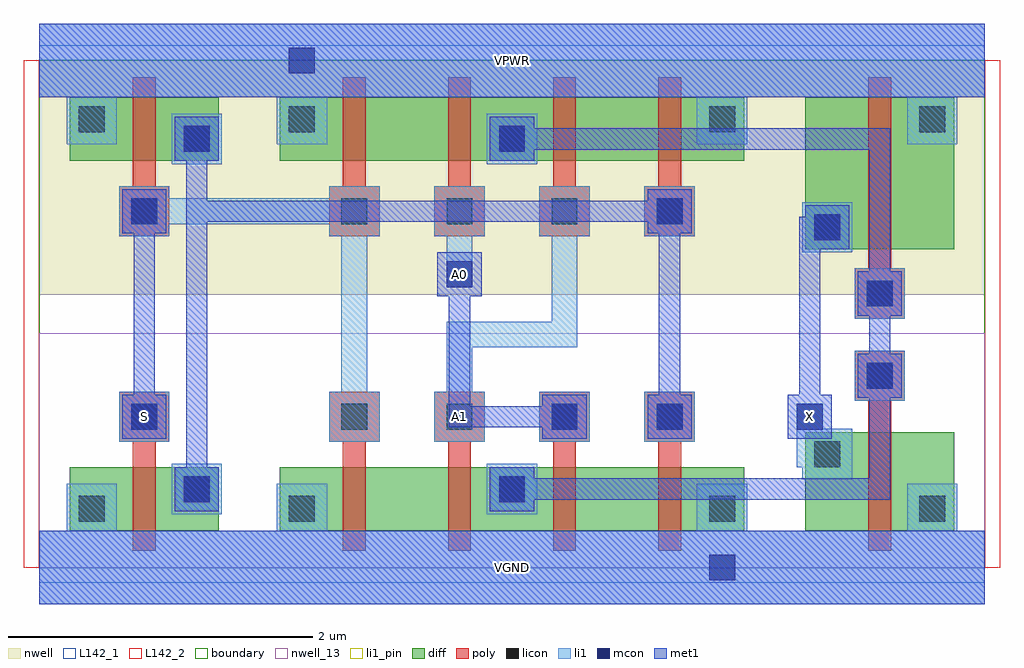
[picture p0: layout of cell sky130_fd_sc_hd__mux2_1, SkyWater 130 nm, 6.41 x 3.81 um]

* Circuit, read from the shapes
.subckt sky130_fd_sc_hd__mux2_1 A0 A1 S VGND VPWR X
XM1 n1 S VGND VSUBS sky130_fd_pr__nfet_01v8 w=0.42 l=0.15
XM2 n2 S VGND VSUBS sky130_fd_pr__nfet_01v8 w=0.42 l=0.15
XM3 n3 A1 n2 VSUBS sky130_fd_pr__nfet_01v8 w=0.42 l=0.15
XM4 n4 A0 n3 VSUBS sky130_fd_pr__nfet_01v8 w=0.42 l=0.15
XM5 VGND n1 n4 VSUBS sky130_fd_pr__nfet_01v8 w=0.42 l=0.15
XM6 VGND n3 X VSUBS sky130_fd_pr__nfet_01v8 w=0.65 l=0.15
XM7 n1 S VPWR n5 sky130_fd_pr__pfet_01v8 w=0.42 l=0.15
XM8 n6 S VPWR n5 sky130_fd_pr__pfet_01v8 w=0.42 l=0.15
XM9 n3 A0 n6 n5 sky130_fd_pr__pfet_01v8 w=0.42 l=0.15
XM10 n7 A1 n3 n5 sky130_fd_pr__pfet_01v8 w=0.42 l=0.15
XM11 VPWR n1 n7 n5 sky130_fd_pr__pfet_01v8 w=0.42 l=0.15
XM12 VPWR n3 X n5 sky130_fd_pr__pfet_01v8 w=1 l=0.15
.ends

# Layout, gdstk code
import gdstk
lib = gdstk.Library(unit=1e-6, precision=1e-09)
def R(c, l, rs):  # rectangles x0, y0, x1, y1
    for r in rs: c.add(gdstk.rectangle(r[:2], r[2:], *l))
def A(c, l, x, y, w, h, nx, ny, dx, dy):  # array of equal rectangles
    R(c, l, [(x+i*dx, y+j*dy, x+i*dx+w, y+j*dy+h) for i in range(nx) for j in range(ny)])
def P(c, l, *ps):  # polygons
    for p in ps: c.add(gdstk.Polygon(p, *l))
nwell_13 = (64, 13)
nwell = (64, 20)
diff = (65, 20)
poly = (66, 20)
licon = (66, 44)
li1_pin = (67, 16)
li1 = (67, 20)
mcon = (67, 44)
met1 = (68, 20)
L142_1 = (142, 1)
L142_2 = (142, 2)
boundary = (235, 4)

sky130_fd_sc_hd__mux2_1 = lib.new_cell('sky130_fd_sc_hd__mux2_1')
R(sky130_fd_sc_hd__mux2_1, nwell_13, [(0,0,6.21,1.54)])
R(sky130_fd_sc_hd__mux2_1, nwell, [(0,1.79,6.21,3.33)])
A(sky130_fd_sc_hd__mux2_1, diff, 1.995, 0.24, 0.69, 0.42, 3, 2, 0.69, 2.43)
R(sky130_fd_sc_hd__mux2_1, diff, [(0.2,0.24,1.18,0.66), (0.2,0.24,0.615,0.66), (0.615,0.24,1.18,0.66), (1.58,0.24,4.63,0.66), (1.58,0.24,1.995,0.66), (4.065,0.24,4.63,0.66), (5.03,0.24,6.01,0.89), (5.03,0.24,5.445,0.89), (5.445,0.24,6.01,0.89), (5.03,2.09,6.01,3.09), (5.03,2.09,5.445,3.09), (5.445,2.09,6.01,3.09), (0.2,2.67,1.18,3.09), (0.2,2.67,0.615,3.09), (0.615,2.67,1.18,3.09), (1.58,2.67,4.63,3.09), (1.58,2.67,1.995,3.09), (4.065,2.67,4.63,3.09)])
P(sky130_fd_sc_hd__mux2_1, poly, [(0.615,0.11),(0.615,0.825),(0.525,0.825),(0.525,1.155),(0.855,1.155),(0.855,0.825),(0.765,0.825),(0.765,0.11)],
  [(1.995,0.11),(1.995,0.825),(1.905,0.825),(1.905,1.155),(2.235,1.155),(2.235,0.825),(2.145,0.825),(2.145,0.11)],
  [(0.525,2.175),(0.525,2.505),(0.615,2.505),(0.615,3.22),(0.765,3.22),(0.765,2.505),(0.855,2.505),(0.855,2.175)],
  [(1.905,2.175),(1.905,2.505),(1.995,2.505),(1.995,3.22),(2.145,3.22),(2.145,2.505),(2.235,2.505),(2.235,2.175)],
  [(5.445,0.11),(5.445,1.095),(5.355,1.095),(5.355,1.425),(5.685,1.425),(5.685,1.095),(5.595,1.095),(5.595,0.11)],
  [(5.355,1.635),(5.355,1.965),(5.445,1.965),(5.445,3.22),(5.595,3.22),(5.595,1.965),(5.685,1.965),(5.685,1.635)],
  [(2.685,0.11),(2.685,0.825),(2.595,0.825),(2.595,1.155),(2.925,1.155),(2.925,0.825),(2.835,0.825),(2.835,0.11)],
  [(3.285,2.175),(3.285,2.505),(3.375,2.505),(3.375,3.22),(3.525,3.22),(3.525,2.505),(3.615,2.505),(3.615,2.175)],
  [(3.375,0.11),(3.375,0.825),(3.285,0.825),(3.285,1.155),(3.615,1.155),(3.615,0.825),(3.525,0.825),(3.525,0.11)],
  [(2.595,2.175),(2.595,2.505),(2.685,2.505),(2.685,3.22),(2.835,3.22),(2.835,2.505),(2.925,2.505),(2.925,2.175)],
  [(4.065,0.11),(4.065,0.825),(3.975,0.825),(3.975,1.155),(4.305,1.155),(4.305,0.825),(4.215,0.825),(4.215,0.11)],
  [(3.975,2.175),(3.975,2.505),(4.065,2.505),(4.065,3.22),(4.215,3.22),(4.215,2.505),(4.305,2.505),(4.305,2.175)])
A(sky130_fd_sc_hd__mux2_1, licon, 1.985, 0.905, 0.17, 0.17, 4, 2, 0.69, 1.35)
R(sky130_fd_sc_hd__mux2_1, licon, [(0.26,0.3,0.43,0.47), (1.64,0.3,1.81,0.47), (4.4,0.3,4.57,0.47), (5.78,0.3,5.95,0.47), (0.95,0.43,1.12,0.6), (3.02,0.43,3.19,0.6), (5.09,0.66,5.26,0.83), (0.605,0.905,0.775,1.075), (5.435,1.175,5.605,1.345), (5.435,1.715,5.605,1.885), (5.09,2.15,5.26,2.32), (0.605,2.255,0.775,2.425), (0.95,2.73,1.12,2.9), (3.02,2.73,3.19,2.9), (0.26,2.86,0.43,3.03), (1.64,2.86,1.81,3.03), (4.4,2.86,4.57,3.03), (5.78,2.86,5.95,3.03)])
R(sky130_fd_sc_hd__mux2_1, li1_pin, [(0,-0.24,6.21,0.24), (0.525,0.825,0.855,1.155), (0,3.09,6.21,3.57)])
P(sky130_fd_sc_hd__mux2_1, li1_pin, [(5.01,0.58),(5.01,0.66),(4.975,0.66),(4.975,1.075),(5.145,1.075),(5.145,0.91),(5.34,0.91),(5.34,0.58)],
  [(2.595,0.825),(2.595,1.155),(2.675,1.155),(2.675,1.615),(3.365,1.615),(3.365,2.175),(3.285,2.175),(3.285,2.505),(3.615,2.505),(3.615,2.175),(3.535,2.175),(3.535,1.445),(2.845,1.445),(2.845,1.155),(2.925,1.155),(2.925,0.825)],
  [(2.675,1.84),(2.675,2.175),(2.595,2.175),(2.595,2.505),(2.925,2.505),(2.925,2.175),(2.845,2.175),(2.845,1.84)])
R(sky130_fd_sc_hd__mux2_1, li1, [(0.87,0.35,1.2,0.68), (2.94,0.35,3.27,0.68), (0.525,0.825,0.855,1.155), (3.285,0.825,3.615,1.155), (3.975,0.825,4.305,1.155), (5.355,1.095,5.685,1.425), (5.355,1.635,5.685,1.965), (5.01,2.07,5.34,2.4), (3.975,2.175,4.305,2.505), (0.87,2.65,1.2,2.98), (2.94,2.65,3.27,2.98)])
P(sky130_fd_sc_hd__mux2_1, li1, [(1.905,0.825),(1.905,1.155),(1.985,1.155),(1.985,2.175),(1.905,2.175),(1.905,2.255),(0.855,2.255),(0.855,2.175),(0.525,2.175),(0.525,2.505),(0.855,2.505),(0.855,2.425),(1.905,2.425),(1.905,2.505),(2.235,2.505),(2.235,2.175),(2.155,2.175),(2.155,1.155),(2.235,1.155),(2.235,0.825)],
  [(0.18,2.78),(0.18,3.09),(0,3.09),(0,3.57),(6.21,3.57),(6.21,3.09),(6.03,3.09),(6.03,2.78),(5.7,2.78),(5.7,3.09),(4.65,3.09),(4.65,2.78),(4.32,2.78),(4.32,3.09),(1.89,3.09),(1.89,2.78),(1.56,2.78),(1.56,3.09),(0.51,3.09),(0.51,2.78)],
  [(2.595,0.825),(2.595,1.155),(2.675,1.155),(2.675,1.615),(3.365,1.615),(3.365,2.175),(3.285,2.175),(3.285,2.505),(3.615,2.505),(3.615,2.175),(3.535,2.175),(3.535,1.445),(2.845,1.445),(2.845,1.155),(2.925,1.155),(2.925,0.825)],
  [(0,-0.24),(0,0.24),(0.18,0.24),(0.18,0.55),(0.51,0.55),(0.51,0.24),(1.56,0.24),(1.56,0.55),(1.89,0.55),(1.89,0.24),(4.32,0.24),(4.32,0.55),(4.65,0.55),(4.65,0.24),(5.7,0.24),(5.7,0.55),(6.03,0.55),(6.03,0.24),(6.21,0.24),(6.21,-0.24)],
  [(5.01,0.58),(5.01,0.66),(4.975,0.66),(4.975,1.075),(5.145,1.075),(5.145,0.91),(5.34,0.91),(5.34,0.58)],
  [(2.675,1.84),(2.675,2.175),(2.595,2.175),(2.595,2.505),(2.925,2.505),(2.925,2.175),(2.845,2.175),(2.845,1.84)])
R(sky130_fd_sc_hd__mux2_1, mcon, [(4.4,-0.085,4.57,0.085), (0.95,0.43,1.12,0.6), (3.02,0.43,3.19,0.6), (0.605,0.905,0.775,1.075), (3.365,0.905,3.535,1.075), (4.055,0.905,4.225,1.075), (4.975,0.905,5.145,1.075), (5.435,1.175,5.605,1.345), (5.435,1.715,5.605,1.885), (2.675,1.84,2.845,2.01), (5.09,2.15,5.26,2.32), (0.605,2.255,0.775,2.425), (4.055,2.255,4.225,2.425), (0.95,2.73,1.12,2.9), (3.02,2.73,3.19,2.9), (1.64,3.245,1.81,3.415)])
R(sky130_fd_sc_hd__mux2_1, met1, [(0,-0.24,6.21,0.24), (0,3.09,6.21,3.57)])
P(sky130_fd_sc_hd__mux2_1, met1, [(0.545,0.845),(0.545,1.135),(0.62,1.135),(0.62,2.195),(0.545,2.195),(0.545,2.485),(0.835,2.485),(0.835,2.195),(0.76,2.195),(0.76,1.135),(0.835,1.135),(0.835,0.845)],
  [(2.96,0.37),(2.96,0.66),(3.25,0.66),(3.25,0.585),(5.45,0.585),(5.45,1.115),(5.375,1.115),(5.375,1.405),(5.45,1.405),(5.45,1.655),(5.375,1.655),(5.375,1.945),(5.45,1.945),(5.45,2.745),(3.25,2.745),(3.25,2.67),(2.96,2.67),(2.96,2.96),(3.25,2.96),(3.25,2.885),(5.59,2.885),(5.59,1.945),(5.665,1.945),(5.665,1.655),(5.59,1.655),(5.59,1.405),(5.665,1.405),(5.665,1.115),(5.59,1.115),(5.59,0.445),(3.25,0.445),(3.25,0.37)],
  [(4.915,0.845),(4.915,1.135),(4.99,1.135),(4.99,2.305),(5.03,2.305),(5.03,2.38),(5.32,2.38),(5.32,2.09),(5.13,2.09),(5.13,1.135),(5.205,1.135),(5.205,0.845)],
  [(3.305,0.845),(3.305,0.92),(2.69,0.92),(2.69,1.78),(2.615,1.78),(2.615,2.07),(2.905,2.07),(2.905,1.78),(2.83,1.78),(2.83,1.06),(3.305,1.06),(3.305,1.135),(3.595,1.135),(3.595,0.845)],
  [(0.89,0.37),(0.89,0.66),(0.965,0.66),(0.965,2.67),(0.89,2.67),(0.89,2.96),(1.18,2.96),(1.18,2.67),(1.105,2.67),(1.105,2.41),(3.995,2.41),(3.995,2.485),(4.285,2.485),(4.285,2.195),(4.21,2.195),(4.21,1.135),(4.285,1.135),(4.285,0.845),(3.995,0.845),(3.995,1.135),(4.07,1.135),(4.07,2.195),(3.995,2.195),(3.995,2.27),(1.105,2.27),(1.105,0.66),(1.18,0.66),(1.18,0.37)])
R(sky130_fd_sc_hd__mux2_1, L142_1, [(0,-0.1,6.21,0), (0,3.33,6.21,3.43)])
R(sky130_fd_sc_hd__mux2_1, L142_2, [(-0.1,0,0,3.33), (6.21,0,6.31,3.33)])
R(sky130_fd_sc_hd__mux2_1, boundary, [(0,0,6.21,3.33)])
sky130_fd_sc_hd__mux2_1.add(gdstk.Label('X', (5.06,0.99), layer=67, texttype=5))
sky130_fd_sc_hd__mux2_1.add(gdstk.Label('A1', (2.76,0.99), layer=67, texttype=5))
sky130_fd_sc_hd__mux2_1.add(gdstk.Label('S', (0.69,0.99), layer=67, texttype=5))
sky130_fd_sc_hd__mux2_1.add(gdstk.Label('A0', (2.76,1.925), layer=67, texttype=5))
sky130_fd_sc_hd__mux2_1.add(gdstk.Label('VGND', (3.105,0), layer=67, texttype=5))
sky130_fd_sc_hd__mux2_1.add(gdstk.Label('VPWR', (3.105,3.33), layer=67, texttype=5))
sky130_fd_sc_hd__mux2_1.add(gdstk.Label('VGND', (3.105,0), layer=68, texttype=5))
sky130_fd_sc_hd__mux2_1.add(gdstk.Label('VPWR', (3.105,3.33), layer=68, texttype=5))

lib.write_gds('sky130_fd_sc_hd__mux2_1.gds')
